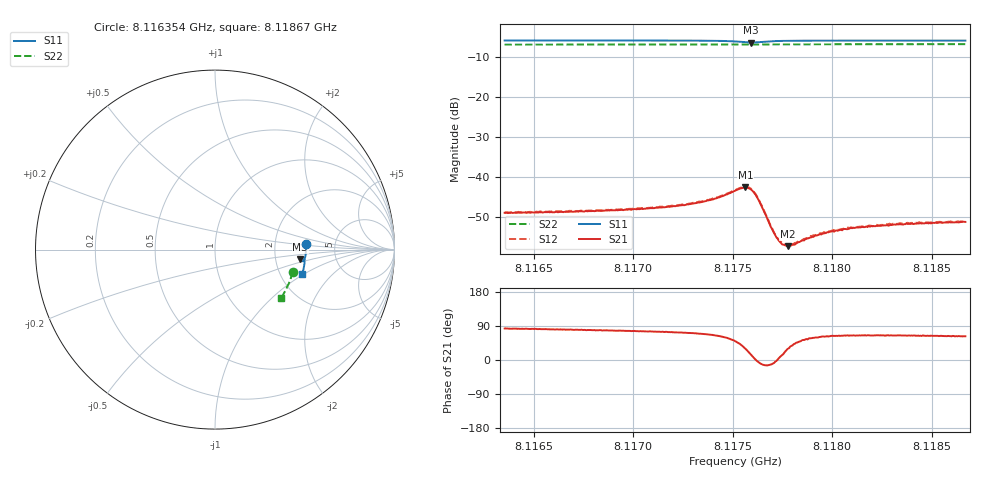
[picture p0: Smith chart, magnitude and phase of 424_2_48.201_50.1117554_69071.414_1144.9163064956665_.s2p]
#  HZ  S  RI  R  50.00
! Rohde & Schwarz Vector Network Analyzer
! Rohde-Schwarz,ZNB20-2Port,1311601062101988,3.16
! Created: UTC 3/20/2024, 11:55:03 AM
! freq[Hz]  re:S11  im:S11  re:S21  im:S21  re:S12  im:S12  re:S22  im:S22
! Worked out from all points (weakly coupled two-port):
!   401 points, 8.116354 GHz to 8.11867 GHz, reference 50 ohm
!   highest |S21| = -42.60 dB at 8.117564 GHz (marker M1); lowest = -57.3 dB at 8.117778 GHz (marker M2)
!   lowest |S11| = -6.4 dB at 8.117593 GHz (marker M3), VSWR 2.83, Z = 138 - j19.7 ohm
!   |S11| at or under -10 dB: nowhere
!   |S22| runs from -6.9 to -6.8 dB; largest |S21 - S12| = 0.00018
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8.1163537e9  0.5061 0.0321  0.000433 0.00355  0.000469 0.0036  0.4319 -0.1253
8.1167416e9  0.5066 0.00263  0.000662 0.00369  0.000737 0.00373  0.4247 -0.1512
8.1168922e9  0.5062 -0.00891  0.000812 0.00376  0.000868 0.00381  0.4214 -0.1612
8.1171295e9  0.5049 -0.0278  0.00112 0.00402  0.00118 0.00407  0.4159 -0.1767
8.1172627e9  0.5033 -0.0392  0.0014 0.00428  0.00146 0.00435  0.4124 -0.1853
8.1173438e9  0.5016 -0.0466  0.00174 0.00454  0.00181 0.00463  0.4102 -0.1907
8.1174248e9  0.4983 -0.0549  0.00242 0.00497  0.00247 0.00502  0.4078 -0.1959
8.1175117e9  0.4893 -0.0638  0.00435 0.00517  0.00444 0.00522  0.4049 -0.2015
8.1175638e9  0.4783 -0.0622  0.00642 0.00372  0.00657 0.00375  0.4031 -0.2045
8.1175927e9  0.4749 -0.055  0.00679 0.00162  0.00696 0.00159  0.4023 -0.2058
8.1176101e9  0.4765 -0.0502  0.00625 0.000391  0.00636 0.000326  0.4019 -0.2067
8.1176275e9  0.4801 -0.047  0.0053 -0.000447  0.00541 -0.000522  0.4015 -0.2077
8.1176912e9  0.4928 -0.0494  0.00235 -0.000493  0.0024 -0.000534  0.4002 -0.2118
8.1177201e9  0.4959 -0.0533  0.00176 -7.33e-05  0.00182 -0.000103  0.3995 -0.2137
8.1177491e9  0.4974 -0.0569  0.0014 0.000335  0.00146 0.000354  0.3987 -0.2155
8.117778e9  0.4983 -0.0604  0.00119 0.000685  0.00123 0.000702  0.3978 -0.2174
8.117807e9  0.4988 -0.0638  0.00106 0.000954  0.00114 0.000937  0.3969 -0.2193
8.1178996e9  0.499 -0.0731  0.00095 0.00153  0.000977 0.00153  0.394 -0.2253
8.1179864e9  0.4981 -0.0807  0.00095 0.00184  0.000978 0.00187  0.3911 -0.2307
8.1180964e9  0.497 -0.0898  0.000992 0.00208  0.001 0.00212  0.3875 -0.2376
8.1182875e9  0.4941 -0.1048  0.00107 0.00225  0.0011 0.00238  0.3808 -0.2491
8.1186696e9  0.4868 -0.1333  0.00126 0.00245  0.00131 0.0025  0.3663 -0.2718
